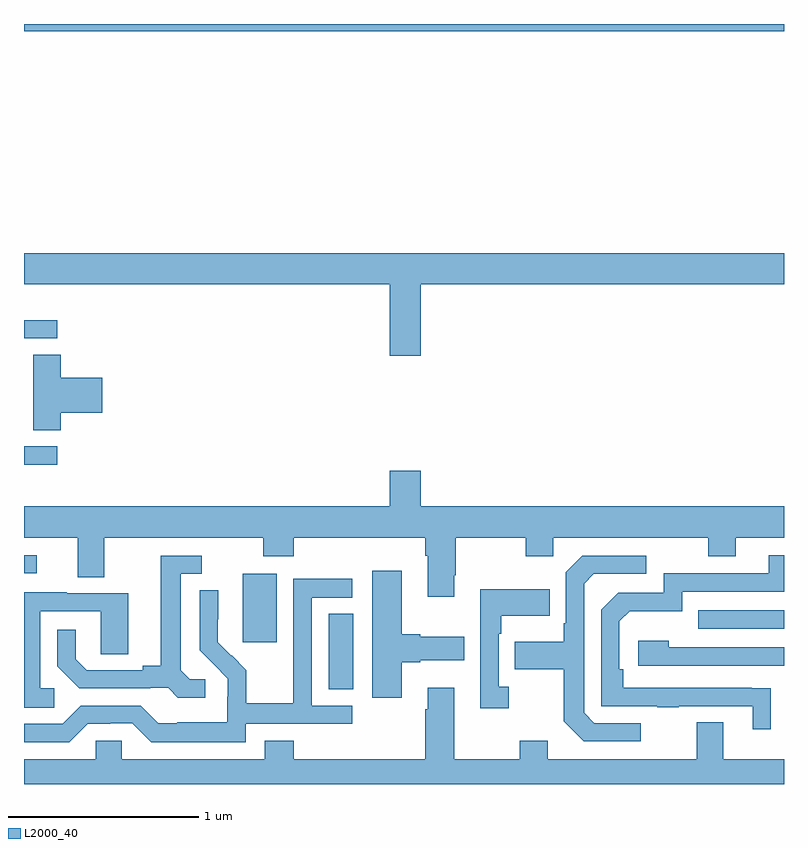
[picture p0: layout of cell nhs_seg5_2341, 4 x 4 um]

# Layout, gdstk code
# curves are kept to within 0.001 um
import gdstk
lib = gdstk.Library(unit=1e-6, precision=1e-09)
def R(c, l, rs):  # rectangles x0, y0, x1, y1
    for r in rs: c.add(gdstk.rectangle(r[:2], r[2:], *l))
def P(c, l, *ps):  # polygons
    for p in ps: c.add(gdstk.Polygon(p, *l))
L2000_40 = (2000, 40)

nhs_seg5_2341 = lib.new_cell('nhs_seg5_2341')
R(nhs_seg5_2341, L2000_40, [(248.603,853.297,248.734,853.694), (248.15,853.545,248.329,853.906), (250.549,853.617,251,853.713), (247,853.908,247.066,854.004), (247,854.479,247.174,854.577), (247,855.144,247.174,855.24), (247,856.76,251,856.799)])
P(nhs_seg5_2341, L2000_40, [(249.088,855.428),(251,855.428),(251,855.592),(247,855.592),(247,855.428),(248.924,855.428),(248.924,855.054),(249.088,855.054)],
  [(247.193,854.753),(247.411,854.753),(247.411,854.936),(247.193,854.936),(247.193,855.059),(247.049,855.059),(247.049,854.662),(247.193,854.662)],
  [(249.265,853.897),(249.273,853.897),(249.273,854.096),(249.64,854.096),(249.64,853.997),(249.786,853.997),(249.786,854.096),(250.6,854.096),(250.6,853.997),(250.747,853.997),(250.747,854.096),(251,854.096),(251,854.26),(249.088,854.26),(249.088,854.449),(248.924,854.449),(248.924,854.26),(247,854.26),(247,854.096),(247.283,854.096),(247.283,853.888),(247.423,853.888),(247.423,854.096),(248.26,854.096),(248.26,853.997),(248.42,853.997),(248.42,854.096),(249.113,854.096),(249.113,854),(249.125,854),(249.125,853.785),(249.265,853.785)],
  [(250.931,853.304),(250.154,853.305),(250.154,853.402),(250.134,853.402),(250.134,853.656),(250.187,853.709),(250.464,853.709),(250.464,853.812),(251,853.812),(251,854.004),(250.919,854.004),(250.919,853.908),(250.368,853.908),(250.368,853.806),(250.128,853.806),(250.038,853.716),(250.038,853.209),(250.333,853.209),(250.333,853.204),(250.445,853.204),(250.445,853.209),(250.835,853.209),(250.835,853.086),(250.931,853.086)],
  [(250.246,853.119),(250.002,853.119),(249.948,853.173),(249.948,853.854),(249.999,853.905),(250.276,853.905),(250.276,854.001),(249.939,854.001),(249.852,853.914),(249.852,853.645),(249.84,853.645),(249.84,853.549),(249.583,853.549),(249.583,853.402),(249.84,853.402),(249.84,853.129),(249.945,853.023),(250.246,853.023)],
  [(247.954,853.35),(247.872,853.35),(247.825,853.397),(247.825,853.905),(247.936,853.905),(247.936,854.001),(247.721,854.001),(247.721,853.421),(247.625,853.421),(247.625,853.398),(247.33,853.398),(247.273,853.455),(247.273,853.612),(247.176,853.612),(247.176,853.418),(247.292,853.302),(247.664,853.302),(247.664,853.305),(247.758,853.305),(247.81,853.253),(247.954,853.253)],
  [(248.989,853.439),(249.085,853.439),(249.085,853.451),(249.316,853.451),(249.316,853.573),(249.085,853.573),(249.085,853.586),(248.989,853.586),(248.989,853.921),(248.834,853.921),(248.834,853.254),(248.989,853.254)],
  [(248.166,853.116),(248.728,853.116),(248.728,853.212),(248.514,853.212),(248.514,853.779),(248.728,853.779),(248.728,853.878),(248.418,853.878),(248.418,853.448),(248.416,853.448),(248.416,853.225),(248.171,853.225),(248.171,853.399),(248.094,853.476),(248.091,853.473),(248.021,853.544),(248.022,853.82),(247.926,853.82),(247.926,853.502),(248.072,853.354),(248.072,853.257),(248.07,853.257),(248.07,853.123),(247.807,853.123),(247.807,853.119),(247.707,853.119),(247.614,853.212),(247.299,853.212),(247.203,853.116),(247,853.116),(247,853.02),(247.239,853.02),(247.335,853.116),(247.454,853.116),(247.454,853.119),(247.569,853.119),(247.669,853.019),(248.166,853.019)],
  [(249.55,853.31),(249.498,853.31),(249.498,853.589),(249.511,853.589),(249.511,853.685),(249.767,853.685),(249.767,853.825),(249.402,853.825),(249.402,853.197),(249.55,853.197)],
  [(247.159,853.302),(247.086,853.302),(247.086,853.707),(247.404,853.707),(247.404,853.483),(247.549,853.483),(247.549,853.803),(247.225,853.803),(247.225,853.807),(247,853.807),(247,853.201),(247.159,853.201)],
  [(251,853.518),(250.394,853.518),(250.394,853.552),(250.233,853.552),(250.233,853.422),(251,853.422)],
  [(251,852.928),(250.681,852.928),(250.681,853.123),(250.541,853.123),(250.541,852.928),(249.757,852.928),(249.757,853.027),(249.61,853.027),(249.61,852.928),(249.265,852.928),(249.265,853.306),(249.125,853.306),(249.125,853.193),(249.113,853.193),(249.113,852.928),(248.42,852.928),(248.42,853.027),(248.267,853.027),(248.267,852.928),(247.515,852.928),(247.515,853.026),(247.377,853.026),(247.377,852.928),(247,852.928),(247,852.799),(251,852.799)])

lib.write_gds('nhs_seg5_2341.gds')
